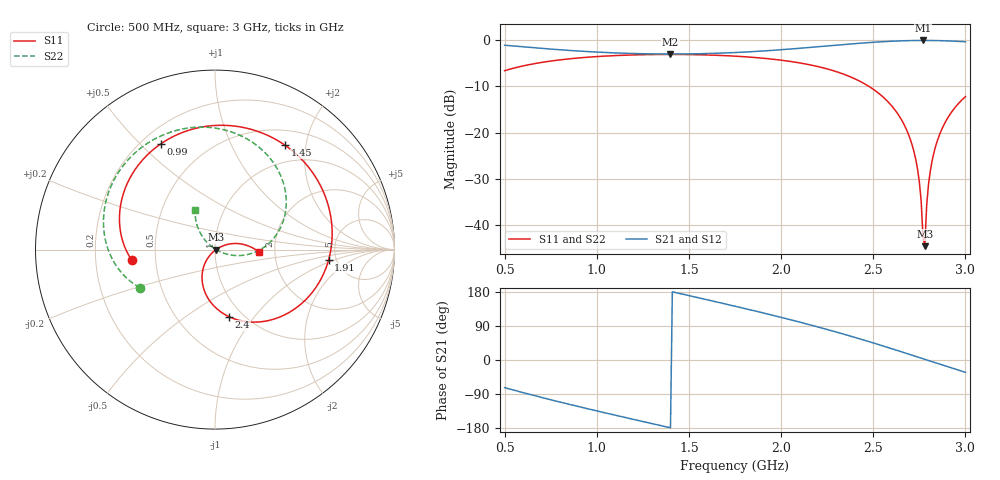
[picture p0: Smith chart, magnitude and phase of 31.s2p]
!freq-unit  param-type  data-format  keyword  impedance-ohms
# GHZ  S  RI  R  50
!Freq  ReS11  ImS11  ReS21  ImS21  ReS12  ImS12  ReS22  ImS22
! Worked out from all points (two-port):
!   251 points, 500 MHz to 3 GHz, reference 50 ohm
!   highest |S21| = -0.07 dB at 2.77 GHz (marker M1); lowest = -3.0 dB at 1.4 GHz (marker M2)
!   |S21| within 3 dB of the highest: start of sweep to end of sweep
!   lowest |S11| = -44.5 dB at 2.78 GHz (marker M3), VSWR 1.01, Z = 50.6 - j0.00845 ohm
!   |S11| at or under -10 dB: 2.477 GHz to end of sweep
!   |S22| runs from -45.0 to -3.1 dB; largest |S21 - S12| = 0
!   S11 on the Smith chart (normalised r, x): 500 MHz: 0.36, -0.05; 990 MHz: 0.28, +0.58; 1.45 GHz: 0.72, +1.64; 1.91 GHz: 4.32, -0.83; 2.4 GHz: 0.86, -0.76; 3 GHz: 1.65, -0.05
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0.5  -0.4648 -0.0572  0.2582 -0.8422  0.2582 -0.8422  -0.418 -0.212
0.71  -0.5276 0.2372  -0.1401 -0.8001  -0.1401 -0.8001  -0.5775 -0.0423
0.92  -0.3837 0.5207  -0.4359 -0.6208  -0.4359 -0.6208  -0.6204 0.1854
0.99  -0.2995 0.5909  -0.5094 -0.5433  -0.5094 -0.5433  -0.6092 0.2621
1.34  0.2328 0.6604  -0.7022 -0.0947  -0.7022 -0.0947  -0.3999 0.576
1.4  0.321 0.6231  -0.7076 -0.0131  -0.7076 -0.0131  -0.3443 0.6116
1.45  0.3894 0.582  -0.7061 0.0551  -0.7061 0.0551  -0.2951 0.6361
1.75  0.6435 0.1921  -0.5785 0.4528  -0.5785 0.4528  0.0305 0.672
1.91  0.6332 -0.0571  -0.4204 0.6394  -0.4204 0.6394  0.1968 0.6056
2.17  0.3946 -0.3603  -0.016 0.8382  -0.016 0.8382  0.3787 0.3783
2.4  0.079 -0.3744  0.4625 0.7914  0.4625 0.7914  0.3641 0.1199
2.59  -0.0687 -0.1939  0.8282 0.5068  0.8282 0.5068  0.2051 -0.0212
2.72  -0.0409 -0.0487  0.9711 0.1931  0.9711 0.1931  0.0592 -0.0236
2.75  -0.0197 -0.0222  0.9852 0.1127  0.9852 0.1127  0.0274 -0.0115
2.76  -0.0116 -0.0143  0.9881 0.0856  0.9881 0.0856  0.0172 -0.00646
2.77  -0.00304 -0.00692  0.9902 0.0584  0.9902 0.0584  0.00723 -0.000939
2.78  0.00596 -8.35e-05  0.9915 0.0311  0.9915 0.0311  -0.00242 0.00506
2.79  0.0154 0.00618  0.9918 0.00381  0.9918 0.00381  -0.0118 0.0115
2.8  0.0252 0.0118  0.9913 -0.0235  0.9913 -0.0235  -0.0208 0.0184
2.83  0.0565 0.0251  0.9844 -0.1049  0.9844 -0.1049  -0.0458 0.0416
2.9  0.1361 0.0327  0.9387 -0.2879  0.9387 -0.2879  -0.0896 0.1079
3  0.245 -0.0139  0.8106 -0.516  0.8106 -0.516  -0.1109 0.2196
